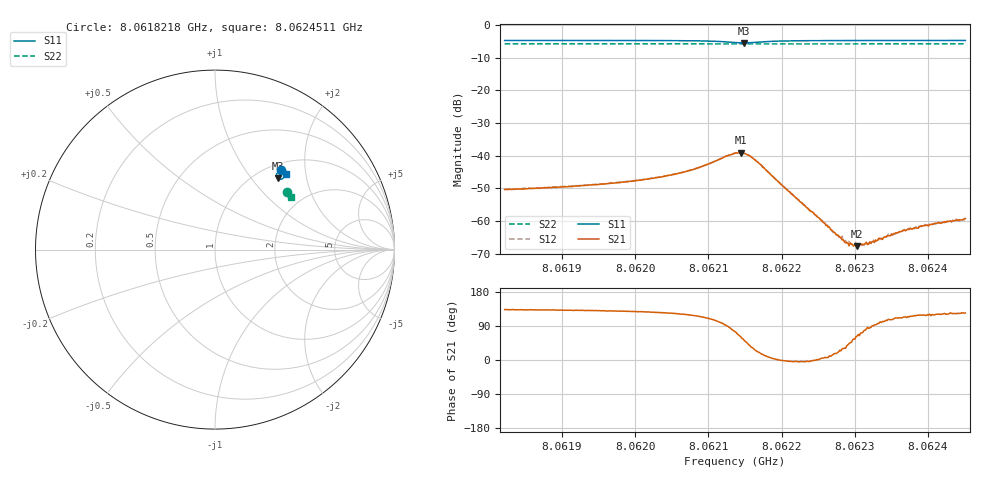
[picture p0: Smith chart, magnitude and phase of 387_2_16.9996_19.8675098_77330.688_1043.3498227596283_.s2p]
#  HZ  S  RI  R  50.00
! Rohde & Schwarz Vector Network Analyzer
! Rohde-Schwarz,ZNB20-2Port,1311601062101988,3.16
! Created: UTC 3/20/2024, 11:09:23 PM
! freq[Hz]  re:S11  im:S11  re:S21  im:S21  re:S12  im:S12  re:S22  im:S22
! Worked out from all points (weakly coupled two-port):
!   401 points, 8.0618218 GHz to 8.0624511 GHz, reference 50 ohm
!   highest |S21| = -39.09 dB at 8.0621443 GHz (marker M1); lowest = -67.6 dB at 8.0623032 GHz (marker M2)
!   lowest |S11| = -5.5 dB at 8.062149 GHz (marker M3), VSWR 3.24, Z = 61.8 + j68.2 ohm
!   |S11| at or under -10 dB: nowhere
!   |S22| runs from -5.9 to -5.8 dB; largest |S21 - S12| = 0.00081
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8.0618218e9  0.3656 0.4451  -0.00208 0.00222  -0.00194 0.00236  0.3985 0.3223
8.06192721e9  0.3729 0.4388  -0.0023 0.00264  -0.00216 0.0028  0.4024 0.3171
8.06199644e9  0.3782 0.4331  -0.00254 0.00322  -0.00234 0.00339  0.4049 0.3135
8.06203262e9  0.3814 0.4289  -0.00268 0.00384  -0.0025 0.00402  0.4064 0.3116
8.06207982e9  0.3855 0.4192  -0.00285 0.00547  -0.00255 0.0057  0.408 0.3089
8.06213646e9  0.3657 0.3914  0.00283 0.0105  0.00353 0.0105  0.4087 0.3052
8.06214433e9  0.3544 0.3935  0.00536 0.00972  0.00611 0.00941  0.4085 0.3051
8.06214905e9  0.3483 0.3977  0.00667 0.00846  0.00719 0.00822  0.4084 0.3051
8.06215691e9  0.3425 0.4078  0.00781 0.00611  0.00823 0.00559  0.4086 0.3053
8.06216792e9  0.3434 0.4216  0.00739 0.00288  0.0076 0.00239  0.4092 0.3054
8.06220254e9  0.3612 0.4355  0.00339 -9.03e-05  0.0034 -0.000299  0.4114 0.3041
8.06224187e9  0.3725 0.4345  0.0014 -3.5e-05  0.00138 -0.000139  0.4131 0.3021
8.06227805e9  0.3782 0.4321  0.000554 0.000222  0.000545 0.000173  0.4147 0.3003
8.06228907e9  0.3797 0.4313  0.000376 0.000288  0.000368 0.000277  0.4149 0.2996
8.06229693e9  0.3806 0.4308  0.000264 0.000348  0.000301 0.000324  0.4154 0.299
8.06230323e9  0.3812 0.4304  0.000188 0.00037  0.000244 0.00037  0.4156 0.2988
8.06230952e9  0.3819 0.4301  0.000141 0.000424  0.000176 0.000386  0.4158 0.2987
8.06232053e9  0.3831 0.4294  4.34e-05 0.00048  7.78e-05 0.000474  0.4161 0.2981
8.06234728e9  0.3854 0.4278  -0.00017 0.000575  -0.000131 0.000585  0.4172 0.2965
8.06236458e9  0.3868 0.4266  -0.000259 0.000662  -0.000211 0.000668  0.4178 0.2956
8.0623929e9  0.389 0.4249  -0.000408 0.000747  -0.00035 0.000803  0.4188 0.2941
8.06245111e9  0.3929 0.4216  -0.000616 0.000908  -0.000582 0.000952  0.4209 0.291
